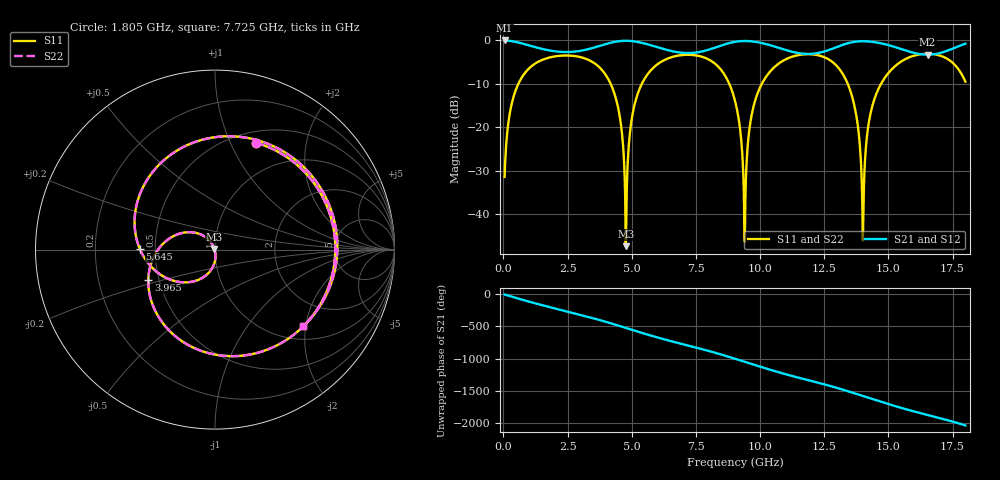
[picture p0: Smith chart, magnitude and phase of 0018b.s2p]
!freq-unit  param-type  data-format  keyword  impedance-ohms
# GHZ  S  RI  R  50
!Freq  ReS11  ImS11  ReS21  ImS21  ReS12  ImS12  ReS22  ImS22
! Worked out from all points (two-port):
!   899 points, 45 MHz to 18 GHz, reference 50 ohm
!   highest |S21| = -0.01 dB at 45 MHz (marker M1); lowest = -3.3 dB at 16.52 GHz (marker M2)
!   |S21| within 3 dB of the highest: start of sweep to 11.6 GHz; 12.14 GHz to 16.1 GHz (3.965 GHz wide, 28.1 % of centre)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
!   lowest |S11| = -47.3 dB at 4.765 GHz (marker M3), VSWR 1.01, Z = 49.7 + j0.275 ohm
!   |S11| at or under -10 dB: 4.177 GHz to 5.391 GHz (1.214 GHz wide, 25.4 % of centre); 8.8 GHz to 10.07 GHz (1.266 GHz wide, 13.4 % of centre); 13.42 GHz to 14.71 GHz (1.298 GHz wide, 9.23 % of centre)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
!   |S22| runs from -47.3 to -3.1 dB; largest |S21 - S12| = 0
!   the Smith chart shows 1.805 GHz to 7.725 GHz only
!   S11 on the Smith chart (normalised r, x): 1.805 GHz: 0.62, +1.25; 3.965 GHz: 0.44, -0.18; 5.645 GHz: 0.41, +0.00; 7.725 GHz: 1.30, -1.93
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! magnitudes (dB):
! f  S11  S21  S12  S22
! 45 MHz  -31.4  0.0  0.0  -31.4
! 545 MHz  -10.4  -0.4  -0.4  -10.4
! 1.805 GHz  -3.9  -2.3  -2.3  -3.9
! 3.045 GHz  -3.9  -2.3  -2.3  -3.9
! 3.965 GHz  -7.8  -0.9  -0.9  -7.8
! 4.505 GHz  -16.6  -0.2  -0.2  -16.6
! 4.765 GHz  -47.3  -0.1  -0.1  -47.3
! 5.065 GHz  -16.0  -0.2  -0.2  -16.0
! 5.645 GHz  -7.6  -0.9  -0.9  -7.6
! 6.045 GHz  -5.3  -1.6  -1.6  -5.3
! 7.725 GHz  -3.7  -2.6  -2.6  -3.7
! 9.025 GHz  -13.9  -0.3  -0.3  -13.9
! 9.405 GHz  -46.3  -0.1  -0.1  -46.3
! 9.645 GHz  -18.0  -0.2  -0.2  -18.0
! 10.04 GHz  -10.2  -0.6  -0.6  -10.2
! 12.03 GHz  -3.2  -3.1  -3.1  -3.2
! 13.46 GHz  -10.7  -0.6  -0.6  -10.7
! 14.01 GHz  -46.0  -0.2  -0.2  -46.0
! 14.32 GHz  -16.2  -0.3  -0.3  -16.2
! 15.03 GHz  -7.3  -1.1  -1.1  -7.3
! 16.52 GHz  -3.1  -3.3  -3.3  -3.1
! 18 GHz  -9.5  -0.8  -0.8  -9.5
